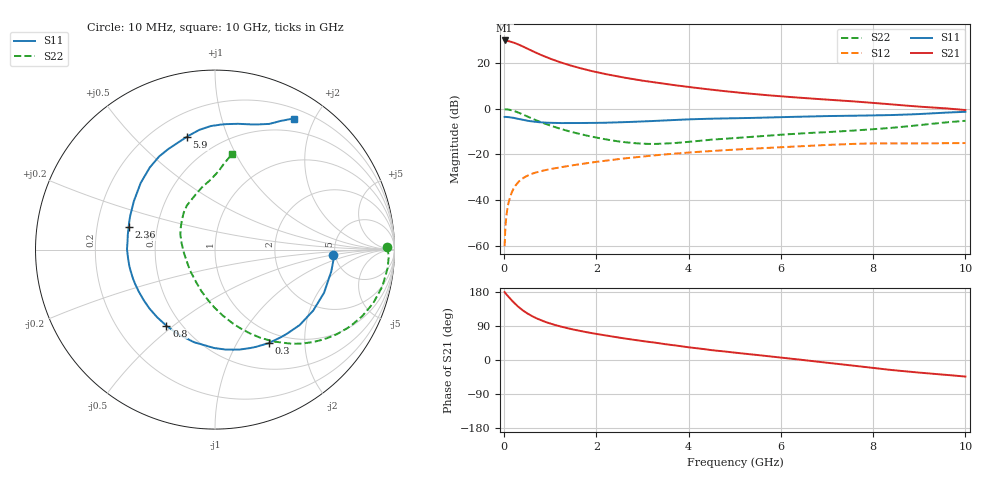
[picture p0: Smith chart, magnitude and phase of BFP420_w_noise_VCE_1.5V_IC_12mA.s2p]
! Infineon Technologies  Discrete & RF Semiconductors
! BFP420
! VCE =  1.5 V,  IC =  12 mA
! Common Emitter S-Parameters:  Jan 2016
# GHz  S  MA  R  50
!  f  S11  S21  S12  S22
! GHz  MAG  ANG  MAG  ANG  MAG  ANG  MAG  ANG
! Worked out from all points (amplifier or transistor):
!   233 points, 10 MHz to 10 GHz, reference 50 ohm
!   highest |S21| = 29.7 dB at 10 MHz (marker M1)
!   |S21| within 3 dB of that: start of sweep to 444.4 MHz
!   unconditionally stable (mu >= 1): 2.154 GHz to end of sweep
!   at 200 MHz: K = 0.16, MSG = 32.0 dB, |S12| = -35.0 dB
!   at 1.74 GHz: K = 0.89, MSG = 20.6 dB, |S12| = -23.9 dB
!   at 10 GHz: K = 1.08, MAG = 5.5 dB, |S12| = -15.0 dB
!   lowest NFmin = 0.95 dB at 900 MHz
!   S11 on the Smith chart (normalised r, x): 10 MHz: 4.80, -0.47; 300 MHz: 0.84, -1.36; 800 MHz: 0.42, -0.47; 2.36 GHz: 0.34, +0.11; 5.9 GHz: 0.34, +0.73; 10 GHz: 0.32, +1.73
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0.01  0.6581 -2.4  30.72 179.3  0.001 97.8  0.9601 0.8
0.02  0.6632 -4.4  30.05 177.3  0.0019 89.4  0.9687 -2.3
0.06  0.6561 -12.8  29.9 171.5  0.0056 84.5  0.964 -7.4
0.1  0.6535 -21.6  29.66 165.9  0.0093 80.7  0.9546 -12.5
0.15  0.6441 -31.8  28.85 159.1  0.0137 76.4  0.931 -18.6
0.22  0.623 -45.5  27.3 150.4  0.0191 70.4  0.8856 -26.4
0.3  0.6006 -60.2  25.4 141.2  0.0245 65.0  0.8274 -34.7
0.4  0.5734 -76.4  22.86 131.4  0.03 59.2  0.75 -43.4
0.5  0.5484 -90.5  20.44 123.1  0.0343 55.0  0.6765 -50.8
0.6  0.529 -102.8  18.3 115.9  0.0378 51.7  0.6112 -57.1
0.7  0.5144 -113.5  16.43 110.0  0.0408 49.4  0.5544 -62.6
0.8  0.5032 -122.6  14.82 104.8  0.0433 47.7  0.5056 -67.4
1  0.491 -138.1  12.3 96.1  0.048 45.5  0.4271 -76.0
1.18  0.4853 -149.1  10.58 89.7  0.0518 44.2  0.3734 -82.8
1.68  0.4864 -172.3  7.499 76.0  0.0624 42.1  0.274 -100.1
2.36  0.4975 165.4  5.278 61.5  0.0769 38.8  0.201 -124.5
3.4  0.5487 140.2  3.566 43.5  0.0985 32.1  0.1715 -169.1
5.1  0.62 113.7  2.23 18.1  0.1295 18.7  0.232 144.6
5.9  0.6473 104.0  1.893 7.8  0.1423 12.5  0.2656 131.5
6.8  0.6817 94.1  1.624 -4.3  0.1578 4.7  0.3002 118.1
8.4  0.7251 74.2  1.236 -26.4  0.1746 -12.3  0.3815 95.3
10  0.8527 58.9  0.933 -43.7  0.1776 -23.8  0.5433 79.7
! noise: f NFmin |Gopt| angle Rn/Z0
0.9  0.95  0.03  -151  0.13
1.8  1.27  0.13  -152  0.12
2.4  1.38  0.13  -160  0.14
3  1.43  0.22  -145  0.13
4  1.58  0.35  -123  0.17
5  2.03  0.43  -103  0.28
6  2.4  0.47  -91  0.43
